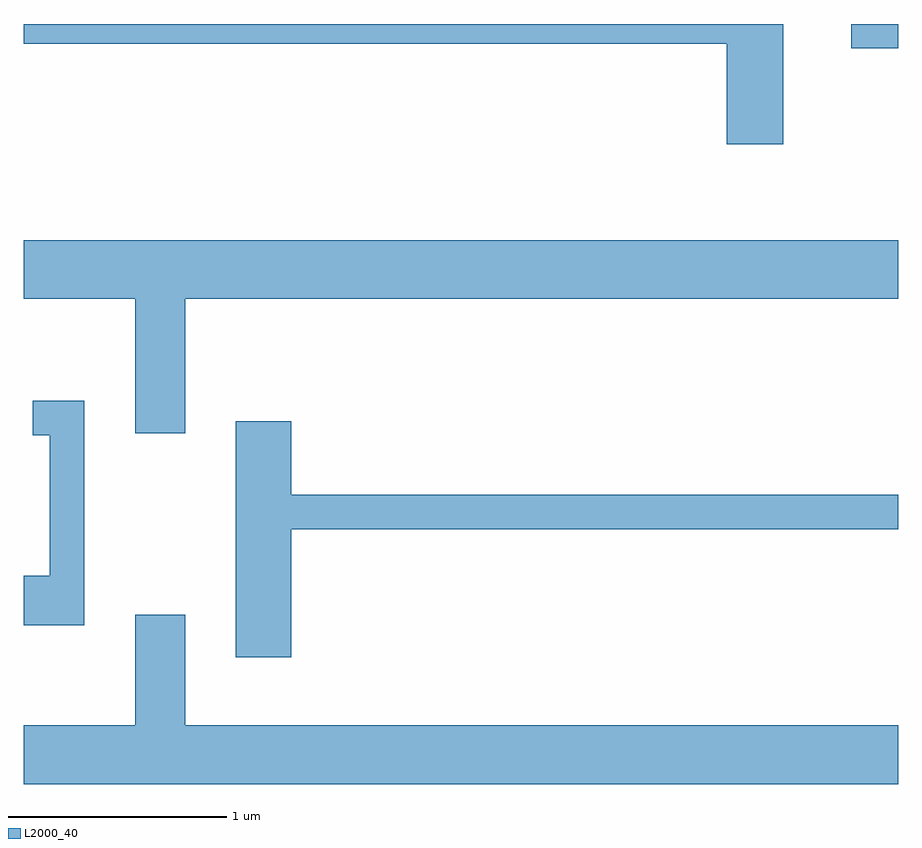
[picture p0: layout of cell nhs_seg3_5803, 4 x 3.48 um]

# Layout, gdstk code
import gdstk
lib = gdstk.Library(unit=1e-6, precision=1e-09)
def R(c, l, rs):  # rectangles x0, y0, x1, y1
    for r in rs: c.add(gdstk.rectangle(r[:2], r[2:], *l))
def P(c, l, *ps):  # polygons
    for p in ps: c.add(gdstk.Polygon(p, *l))
L2000_40 = (2000, 40)

nhs_seg3_5803 = lib.new_cell('nhs_seg3_5803')
R(nhs_seg3_5803, L2000_40, [(359.396,1173.781,359.611,1173.892)])
P(nhs_seg3_5803, L2000_40, [(359.084,1173.892),(355.611,1173.892),(355.611,1173.801),(358.826,1173.801),(358.826,1173.341),(359.084,1173.341)],
  [(356.349,1172.636),(359.611,1172.636),(359.611,1172.904),(355.611,1172.904),(355.611,1172.636),(356.121,1172.636),(356.121,1172.021),(356.349,1172.021)],
  [(355.889,1172.169),(355.653,1172.169),(355.653,1172.011),(355.731,1172.011),(355.731,1171.369),(355.611,1171.369),(355.611,1171.141),(355.889,1171.141)],
  [(356.834,1171.581),(359.611,1171.581),(359.611,1171.739),(356.834,1171.739),(356.834,1172.074),(356.581,1172.074),(356.581,1170.996),(356.834,1170.996)],
  [(359.611,1170.684),(356.349,1170.684),(356.349,1171.189),(356.121,1171.189),(356.121,1170.684),(355.611,1170.684),(355.611,1170.416),(359.611,1170.416)])

lib.write_gds('nhs_seg3_5803.gds')
